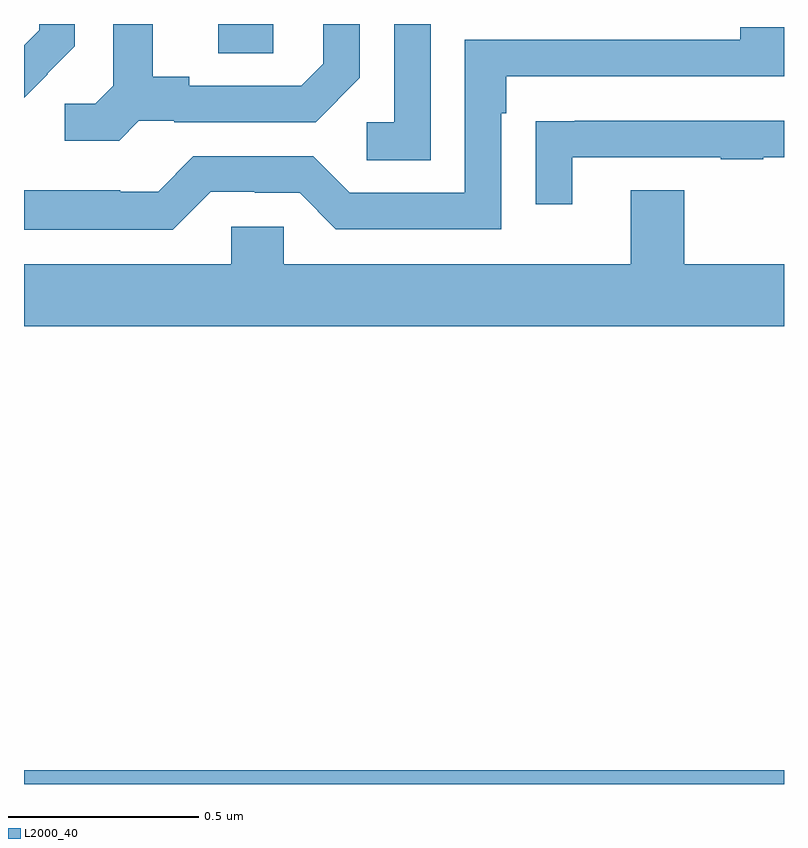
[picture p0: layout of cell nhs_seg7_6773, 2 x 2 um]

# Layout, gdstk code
import gdstk
lib = gdstk.Library(unit=1e-6, precision=1e-09)
def R(c, l, rs):  # rectangles x0, y0, x1, y1
    for r in rs: c.add(gdstk.rectangle(r[:2], r[2:], *l))
def P(c, l, *ps):  # polygons
    for p in ps: c.add(gdstk.Polygon(p, *l))
L2000_40 = (2000, 40)

nhs_seg7_6773 = lib.new_cell('nhs_seg7_6773')
R(nhs_seg7_6773, L2000_40, [(202,1078,204,1078.036), (202.511,1079.923,202.656,1080)])
P(nhs_seg7_6773, L2000_40, [(203.07,1080),(202.974,1080),(202.974,1079.742),(202.902,1079.742),(202.902,1079.641),(203.07,1079.641)],
  [(202.062,1079.868),(202.061,1079.869),(202.134,1079.942),(202.134,1080),(202.04,1080),(202.04,1079.984),(202,1079.944),(202,1079.806)],
  [(202.302,1079.745),(202.396,1079.745),(202.396,1079.742),(202.768,1079.742),(202.884,1079.858),(202.884,1080),(202.787,1080),(202.787,1079.895),(202.73,1079.838),(202.435,1079.838),(202.435,1079.861),(202.339,1079.861),(202.339,1080),(202.235,1080),(202.235,1079.837),(202.188,1079.79),(202.107,1079.79),(202.107,1079.693),(202.25,1079.693)],
  [(202.491,1079.559),(202.607,1079.559),(202.607,1079.556),(202.725,1079.556),(202.821,1079.46),(203.256,1079.46),(203.256,1079.765),(203.269,1079.765),(203.269,1079.862),(204,1079.862),(204,1079.992),(203.885,1079.992),(203.885,1079.958),(203.16,1079.958),(203.16,1079.556),(202.857,1079.556),(202.761,1079.652),(202.446,1079.652),(202.353,1079.559),(202.253,1079.559),(202.253,1079.563),(202,1079.563),(202,1079.459),(202.391,1079.459)],
  [(203.443,1079.649),(203.833,1079.649),(203.833,1079.644),(203.945,1079.644),(203.945,1079.649),(204,1079.649),(204,1079.745),(203.449,1079.745),(203.449,1079.744),(203.347,1079.744),(203.347,1079.526),(203.443,1079.526)],
  [(204,1079.368),(203.737,1079.368),(203.737,1079.563),(203.597,1079.563),(203.597,1079.368),(202.683,1079.368),(202.683,1079.466),(202.545,1079.466),(202.545,1079.368),(202,1079.368),(202,1079.204),(204,1079.204)])

lib.write_gds('nhs_seg7_6773.gds')
